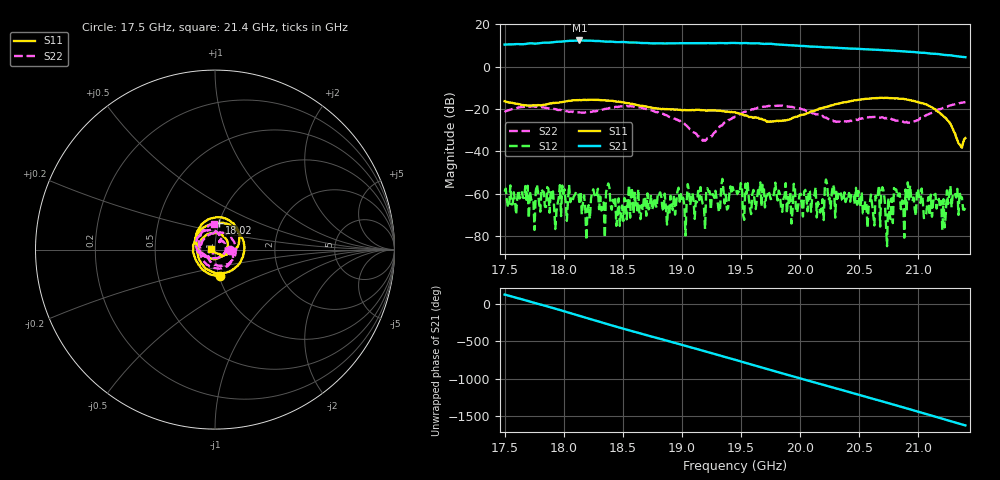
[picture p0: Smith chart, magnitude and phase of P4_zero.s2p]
!Created with skrf (http://scikit-rf.org).
# GHz S RI R 50.0
!freq ReS11 ImS11 ReS21 ImS21 ReS12 ImS12 ReS22 ImS22
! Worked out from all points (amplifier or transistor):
!   401 points, 17.5 GHz to 21.4 GHz, reference 50 ohm
!   highest |S21| = 12.3 dB at 18.13 GHz (marker M1)
!   |S21| within 3 dB of that: start of sweep to 20.16 GHz
!   unconditionally stable (mu >= 1): start of sweep to end of sweep
!   at 18.14 GHz: K = 103.70, MAG = 12.4 dB, |S12| = -58.9 dB
!   at 19.45 GHz: K = 110.96, MAG = 11.2 dB, |S12| = -58.1 dB
!   at 21.4 GHz: K = 621.86, MAG = 4.5 dB, |S12| = -66.5 dB
!   S11 on the Smith chart (normalised r, x): 17.5 GHz: 1.01, -0.31; 18.02 GHz: 1.00, +0.30; 21.4 GHz: 0.96, +0.01
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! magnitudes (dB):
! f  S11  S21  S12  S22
! 17.5 GHz  -16.4  10.4  -58.9  -21.5
! 18.02 GHz  -16.4  12.0  -63.8  -21.0
! 18.13 GHz  -15.7  12.3  -64.9  -21.6
! 18.15 GHz  -15.8  12.3  -69.6  -21.7
! 18.2 GHz  -15.7  12.3  -67.3  -21.4
! 18.27 GHz  -15.7  12.0  -61.8  -21.0
! 18.33 GHz  -15.9  11.9  -66.6  -20.2
! 18.38 GHz  -16.0  11.7  -55.0  -19.7
! 18.47 GHz  -16.5  11.5  -62.1  -18.9
! 18.56 GHz  -17.5  11.3  -71.2  -18.6
! 18.81 GHz  -19.8  11.0  -60.3  -21.9
! 19.19 GHz  -20.6  11.0  -65.4  -34.5
! 19.45 GHz  -21.5  11.1  -58.1  -23.6
! 20.1 GHz  -21.1  9.4  -61.6  -22.0
! 20.45 GHz  -16.0  8.4  -60.6  -25.2
! 20.55 GHz  -15.2  8.1  -63.4  -24.2
! 20.69 GHz  -14.7  7.8  -58.6  -24.0
! 20.76 GHz  -14.9  7.6  -69.0  -24.6
! 20.82 GHz  -14.9  7.3  -57.9  -25.5
! 20.86 GHz  -15.2  7.2  -63.1  -25.8
! 20.93 GHz  -15.8  6.9  -56.0  -26.5
! 21.4 GHz  -33.7  4.4  -66.5  -16.7
